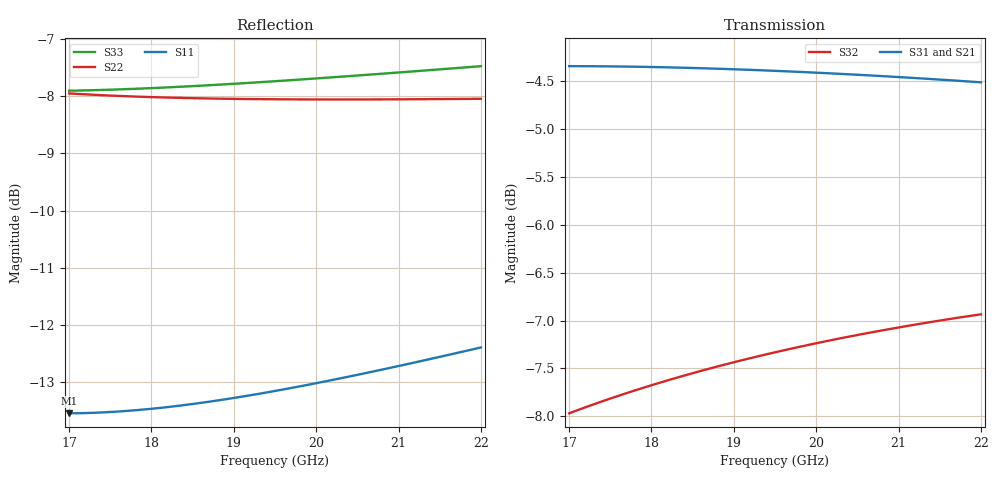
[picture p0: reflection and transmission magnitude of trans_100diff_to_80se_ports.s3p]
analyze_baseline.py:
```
#!/usr/bin/env python
"""Baseline (nominal mesh, no sweep yet) S-parameter analysis for
trans_100diff_to_80se_ports: a 3-port structure with port 1 single-ended
(true external system impedance 80 ohm) and ports 2/3 a differential pair
(true external differential impedance 100 ohm). All 3 ports were simulated
at port_Z0=50.0 -- this script re-references the result to the true mixed
single-ended/differential system impedances.

The 3-port Z-matrix is reduced to a 2-port single-ended/differential-mode
equivalent (port a = SE port 1, port b = differential mode of ports 2/3)
using the same plain "engineering" differential-impedance convention
already validated in the balun2x1 and transformer studies (Zdiff = Vdiff/I
with I the current in one leg, NOT the Bockelman-Eisenstadt power-
normalized Idm=(I2-I3)/sqrt(2) convention -- using B&E's own Zbb would be
exactly half this Zbb, so referencing it against Z02 here would silently
impose a 2*Z02 differential termination instead of Z02):

    Zaa = Z11
    Zab = Z12 - Z13
    Zba = Z21 - Z31
    Zbb = Z22 - Z23 - Z32 + Z33

Derivation: drive the pair with I2=-I3=I (pure differential, no common
current) and I1 driven independently; then V1 = Z11*I1 + (Z12-Z13)*I and
Vdiff = V2-V3 = (Z21-Z31)*I1 + (Z22-Z23-Z32+Z33)*I, which reads off Zaa,
Zab, Zba, Zbb directly (no extra factors) with Ia=I1, Ib=I. This also
drops the common-mode row/column of the full 3-mode (SE, DM, CM) transform,
exact under the standard S-parameter assumption that a port not included
in the matrix is terminated in its own reference impedance.

The resulting 2-port is then converted to S-parameters at the real,
unequal reference impedances Z01=80 ohm (SE) / Z02=100 ohm (differential)
using the general unequal-reference-impedance 2-port Z->S formula (same
one used in the balun2x1 and transformer studies):

    D      = (Zaa+Z01)*(Zbb+Z02) - Zab*Zba
    Sss11  = ((Zaa-Z01)*(Zbb+Z02) - Zab*Zba) / D
    Sdd22  = ((Zaa+Z01)*(Zbb-Z02) - Zab*Zba) / D
    Sds21  = 2*Zba*sqrt(Z01*Z02) / D   (differential output from SE input)

Reads the raw (non-de-embedded) 3-port Touchstone from results/snp/ -- the
mesh convergence sweep uses raw S-parameters throughout, so this baseline
uses the same convention for consistency -- and writes an S-parameter
table (band edges + center) and mag/phase plots for Sss11, Sdd22, Sds21.
"""
import os
import csv
import numpy as np
import skrf as rf
import matplotlib
matplotlib.use("Agg")
import matplotlib.pyplot as plt

HERE = os.path.dirname(os.path.abspath(__file__))
SNP_DIR = os.path.join(HERE, "snp")
PLOT_DIR = os.path.join(HERE, "plots")
SNP_FILE = os.path.join(SNP_DIR, "trans_100diff_to_80se_ports.s3p")

Z01 = 80.0   # true single-ended external system impedance (port 1)
Z02 = 100.0  # true differential external system impedance (ports 2/3)

EVAL_FREQS_GHZ = [17, 19.5, 22]  # band edges + center


def db(x):
    return 20 * np.log10(np.abs(x))


def deg(x):
    return np.angle(x, deg=True)


def mixed_mode_traces(nw, z01=Z01, z02=Z02):
    Z = nw.z
    Zaa = Z[:, 0, 0]
    Zab = Z[:, 0, 1] - Z[:, 0, 2]
    Zba = Z[:, 1, 0] - Z[:, 2, 0]
    Zbb = Z[:, 1, 1] - Z[:, 1, 2] - Z[:, 2, 1] + Z[:, 2, 2]
    D = (Zaa + z01) * (Zbb + z02) - Zab * Zba
    Sss11 = ((Zaa - z01) * (Zbb + z02) - Zab * Zba) / D
    Sdd22 = ((Zaa + z01) * (Zbb - z02) - Zab * Zba) / D
    Sds21 = 2 * Zba * np.sqrt(z01 * z02) / D
    return {"Sss11": Sss11, "Sds21": Sds21, "Sdd22": Sdd22}


def value_at_freq(freq, x, freq_hz):
    i = int(np.argmin(np.abs(freq - freq_hz)))
    return x[i] if abs(freq[i] - freq_hz) < 0.6e9 else None


def main():
    if not os.path.isfile(SNP_FILE):
        print(f"Missing {SNP_FILE}, nothing to analyze yet.")
        return

    nw = rf.Network(SNP_FILE)
    nw.name = "nominal (refined_cellsize=3um, Metal3=5um)"
    freq = nw.frequency.f
    traces = mixed_mode_traces(nw)

    os.makedirs(PLOT_DIR, exist_ok=True)

    csv_path = os.path.join(HERE, "s_parameter_table.csv")
    with open(csv_path, "w", newline="") as f:
        writer = csv.writer(f)
        writer.writerow(["Param"] + [f"{fg} GHz |S| (dB)" for fg in EVAL_FREQS_GHZ] +
                         [f"{fg} GHz arg(S) (deg)" for fg in EVAL_FREQS_GHZ])
        for pname, x in traces.items():
            mags = [value_at_freq(freq, x, fg * 1e9) for fg in EVAL_FREQS_GHZ]
            row = [pname]
            row += [f"{db(v):.3f}" if v is not None else "n/a" for v in mags]
            row += [f"{deg(v):.2f}" if v is not None else "n/a" for v in mags]
            writer.writerow(row)
    print(f"Wrote S-parameter table: {csv_path}")

    colors = {"Sss11": "#4c72b0", "Sds21": "#55a868", "Sdd22": "#c44e52"}
    for pname, x in traces.items():
        fig, (ax_mag, ax_phase) = plt.subplots(2, 1, figsize=(8, 6), sharex=True)
        freq_ghz = freq / 1e9
        ax_mag.plot(freq_ghz, db(x), color=colors[pname])
        ax_mag.set_ylabel(f"|{pname}| (dB)")
        ax_mag.grid(True, alpha=0.3)
        ax_mag.set_title(f"{pname} at true system impedance (Z01={Z01:.0f} ohm SE, Z02={Z02:.0f} ohm diff)")
        ax_phase.plot(freq_ghz, deg(x), color=colors[pname])
        ax_phase.set_xlabel("Frequency (GHz)")
        ax_phase.set_ylabel(f"arg({pname}) (deg)")
        ax_phase.grid(True, alpha=0.3)
        fig.tight_layout()
        out_path = os.path.join(PLOT_DIR, f"{pname.lower()}_baseline.png")
        fig.savefig(out_path, dpi=150)
        plt.close(fig)
        print(f"Wrote plot: {out_path}")


if __name__ == "__main__":
    main()
```
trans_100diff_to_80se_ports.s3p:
#  GHZ S DB R 50.0
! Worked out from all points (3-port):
!   51 points, 17 GHz to 22 GHz, reference 50 ohm
!   strongest paths, dB at 17 GHz, 18.2 GHz, 19.5 GHz, 20.8 GHz, 22 GHz:
!     S31: -4.3, -4.4, -4.4, -4.4, -4.5
!     S21: -4.5, -4.4, -4.4, -4.4, -4.4
!     S32: -8.0, -7.6, -7.3, -7.1, -6.9
!   lowest |S11| = -13.5 dB at 17 GHz (marker M1), VSWR 1.53, Z = 75.5 + j6.92 ohm
!   |S11| at or under -10 dB: start of sweep to end of sweep
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17  -13.54 12.0  -4.49 -173.7  -4.35 6.0
    -4.49 -173.7  -7.95 95.4  -7.97 73.4
    -4.35 6.0  -7.97 73.4  -7.90 92.5
18.1  -13.45 -2.1  -4.44 178.5  -4.36 -1.4
      -4.44 178.5  -8.02 85.3  -7.65 66.1
      -4.36 -1.4  -7.65 66.1  -7.85 82.7
19.3  -13.20 -15.6  -4.41 170.5  -4.39 -9.0
      -4.41 170.5  -8.05 75.7  -7.37 58.8
      -4.39 -9.0  -7.37 58.8  -7.76 73.5
20.6  -12.84 -28.3  -4.40 162.4  -4.44 -16.7
      -4.40 162.4  -8.06 66.9  -7.13 51.6
      -4.44 -16.7  -7.13 51.6  -7.63 65.0
22  -12.39 -40.1  -4.41 154.2  -4.51 -24.5
    -4.41 154.2  -8.05 58.7  -6.94 44.4
    -4.51 -24.5  -6.94 44.4  -7.48 57.0
